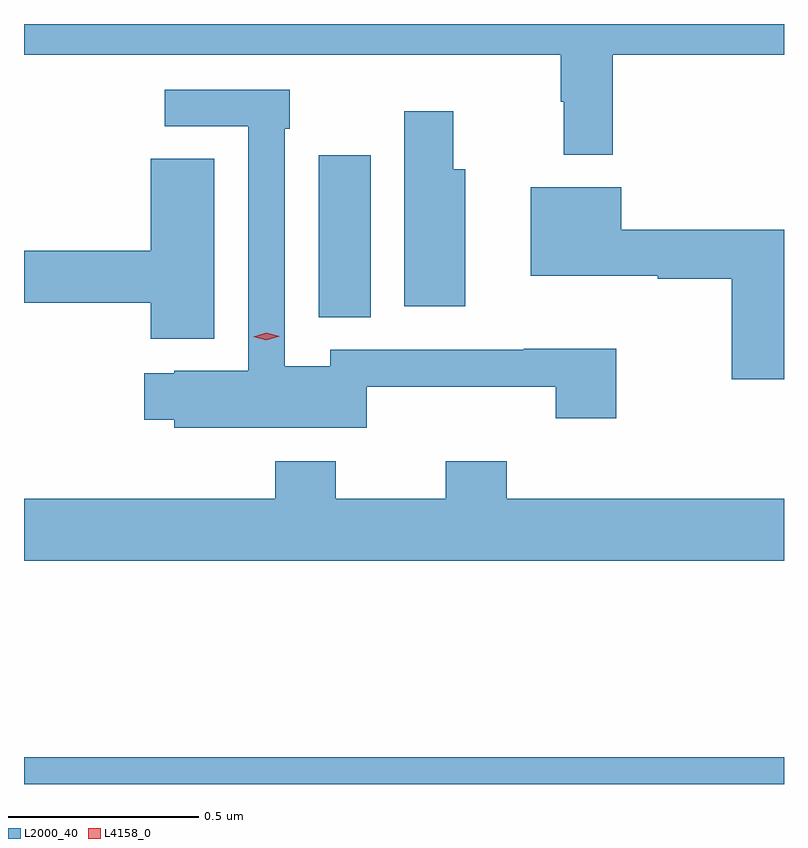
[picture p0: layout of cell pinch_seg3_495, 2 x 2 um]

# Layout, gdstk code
import gdstk
lib = gdstk.Library(unit=1e-6, precision=1e-09)
def R(c, l, rs):  # rectangles x0, y0, x1, y1
    for r in rs: c.add(gdstk.rectangle(r[:2], r[2:], *l))
def P(c, l, *ps):  # polygons
    for p in ps: c.add(gdstk.Polygon(p, *l))
L2000_40 = (2000, 40)
L4158_0 = (4158, 0)

pinch_seg3_495 = lib.new_cell('pinch_seg3_495')
R(pinch_seg3_495, L2000_40, [(992.866,667.029,994.866,667.1), (993.641,668.257,993.778,668.683)])
P(pinch_seg3_495, L2000_40, [(994.415,668.948),(994.866,668.948),(994.866,669.029),(992.866,669.029),(992.866,668.948),(994.279,668.948),(994.279,668.825),(994.287,668.825),(994.287,668.685),(994.415,668.685)],
  [(993.768,668.075),(994.265,668.075),(994.265,667.992),(994.425,667.992),(994.425,668.174),(994.181,668.174),(994.181,668.172),(993.672,668.172),(993.672,668.128),(993.552,668.128),(993.552,668.753),(993.565,668.753),(993.565,668.856),(993.237,668.856),(993.237,668.76),(993.456,668.76),(993.456,668.116),(993.261,668.116),(993.261,668.11),(993.182,668.11),(993.182,667.988),(993.261,667.988),(993.261,667.967),(993.768,667.967)],
  [(994.027,668.647),(993.996,668.647),(993.996,668.8),(993.866,668.8),(993.866,668.286),(994.027,668.286)],
  [(993.367,668.675),(993.2,668.675),(993.2,668.432),(992.866,668.432),(992.866,668.296),(993.2,668.296),(993.2,668.201),(993.367,668.201)],
  [(994.866,668.488),(994.438,668.488),(994.438,668.599),(994.199,668.599),(994.199,668.366),(994.534,668.366),(994.534,668.359),(994.729,668.359),(994.729,668.094),(994.866,668.094)],
  [(994.866,667.78),(994.136,667.78),(994.136,667.879),(993.976,667.879),(993.976,667.78),(993.687,667.78),(993.687,667.879),(993.527,667.879),(993.527,667.78),(992.866,667.78),(992.866,667.616),(994.866,667.616)])
P(pinch_seg3_495, L4158_0, [(993.504,668.197),(993.469,668.206),(993.469,668.206),(993.469,668.206),(993.504,668.216),(993.539,668.207),(993.539,668.207),(993.539,668.207)])

lib.write_gds('pinch_seg3_495.gds')
